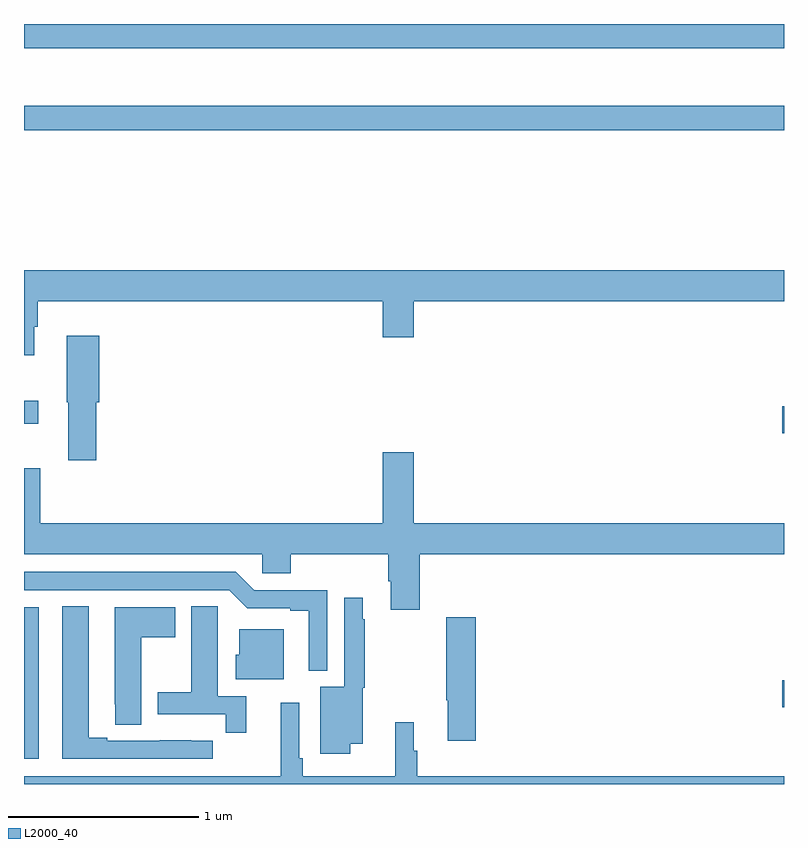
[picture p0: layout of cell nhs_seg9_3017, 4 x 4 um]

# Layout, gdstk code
import gdstk
lib = gdstk.Library(unit=1e-6, precision=1e-09)
def R(c, l, rs):  # rectangles x0, y0, x1, y1
    for r in rs: c.add(gdstk.rectangle(r[:2], r[2:], *l))
def P(c, l, *ps):  # polygons
    for p in ps: c.add(gdstk.Polygon(p, *l))
L2000_40 = (2000, 40)

nhs_seg9_3017 = lib.new_cell('nhs_seg9_3017')
R(nhs_seg9_3017, L2000_40, [(283,1240.632,283.078,1241.43), (286.992,1240.903,287,1241.045), (286.992,1242.346,287,1242.488), (283,1242.395,283.075,1242.517), (283,1243.942,287,1244.071), (283,1244.372,287,1244.5)])
P(nhs_seg9_3017, L2000_40, [(283.054,1242.906),(283.073,1242.906),(283.073,1243.04),(284.888,1243.04),(284.888,1242.852),(285.052,1242.852),(285.052,1243.04),(287,1243.04),(287,1243.204),(283,1243.204),(283,1242.756),(283.054,1242.756)],
  [(283.379,1242.51),(283.397,1242.51),(283.397,1242.859),(283.226,1242.859),(283.226,1242.51),(283.232,1242.51),(283.232,1242.204),(283.379,1242.204)],
  [(285.052,1242.247),(284.888,1242.247),(284.888,1241.872),(283.085,1241.872),(283.085,1242.163),(283,1242.163),(283,1241.708),(284.253,1241.708),(284.253,1241.61),(284.405,1241.61),(284.405,1241.708),(284.918,1241.708),(284.918,1241.566),(284.93,1241.566),(284.93,1241.418),(285.083,1241.418),(285.083,1241.708),(287,1241.708),(287,1241.872),(285.052,1241.872)],
  [(284.595,1241.52),(284.211,1241.52),(284.115,1241.616),(283,1241.616),(283,1241.52),(284.079,1241.52),(284.175,1241.424),(284.402,1241.424),(284.402,1241.412),(284.498,1241.412),(284.498,1241.096),(284.595,1241.096)],
  [(284.716,1240.712),(284.782,1240.712),(284.782,1241.007),(284.794,1241.007),(284.794,1241.366),(284.782,1241.366),(284.782,1241.479),(284.685,1241.479),(284.685,1241.011),(284.558,1241.011),(284.558,1240.659),(284.716,1240.659)],
  [(284.171,1240.962),(284.02,1240.962),(284.02,1241.324),(284.019,1241.324),(284.019,1241.435),(283.88,1241.435),(283.88,1240.983),(283.703,1240.983),(283.703,1240.866),(284.062,1240.866),(284.062,1240.77),(284.171,1240.77)],
  [(283.993,1240.728),(283.88,1240.728),(283.88,1240.729),(283.714,1240.729),(283.714,1240.728),(283.438,1240.728),(283.438,1240.743),(283.342,1240.743),(283.342,1241.435),(283.202,1241.435),(283.202,1240.632),(283.993,1240.632)],
  [(283.618,1241.272),(283.795,1241.272),(283.795,1241.431),(283.478,1241.431),(283.478,1240.921),(283.479,1240.921),(283.479,1240.813),(283.618,1240.813)],
  [(285.377,1241.377),(285.223,1241.377),(285.223,1240.94),(285.23,1240.94),(285.23,1240.728),(285.377,1240.728)],
  [(284.368,1241.314),(284.132,1241.314),(284.132,1241.181),(284.114,1241.181),(284.114,1241.051),(284.368,1241.051)],
  [(287,1240.54),(285.071,1240.54),(285.071,1240.674),(285.052,1240.674),(285.052,1240.825),(284.953,1240.825),(284.953,1240.54),(284.468,1240.54),(284.468,1240.636),(284.448,1240.636),(284.448,1240.927),(284.351,1240.927),(284.351,1240.54),(283,1240.54),(283,1240.5),(287,1240.5)])

lib.write_gds('nhs_seg9_3017.gds')
